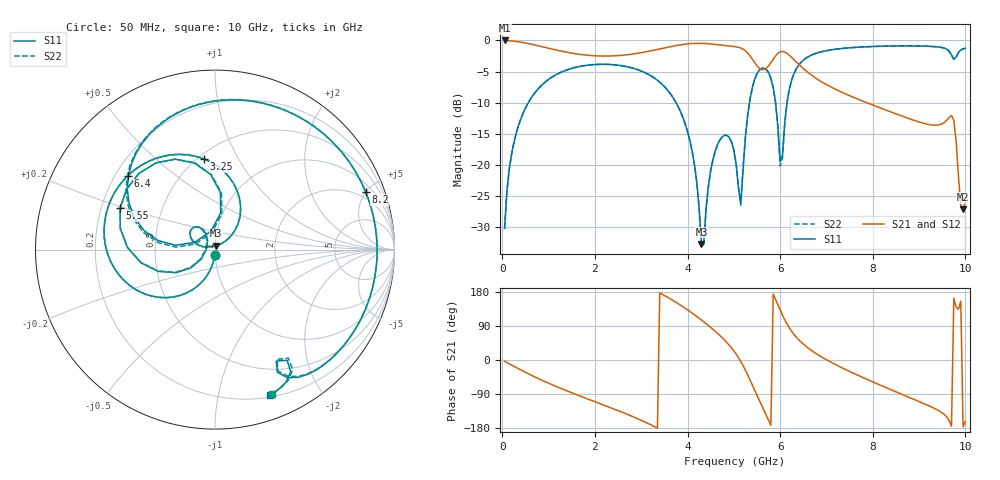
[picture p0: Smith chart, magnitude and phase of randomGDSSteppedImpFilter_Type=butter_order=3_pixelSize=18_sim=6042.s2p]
! freq	dB(S11)	phase(S11)	dB(S12)	phase(S12)
!  dB(S21)	phase(S21)	dB(S22)	phase(S22)
!S-par simulation data
#  GHz  S  DB  R 50
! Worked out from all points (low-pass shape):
!   200 points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, 50 MHz to 10 GHz, reference 50 ohm
!   highest |S21| = -0.01 dB at 50 MHz (marker M1); lowest = -27.1 dB at 9.95 GHz (marker M2)
!   |S21| within 3 dB of the highest: start of sweep to 5.399 GHz; 5.851 GHz to 6.287 GHz (435.3 MHz wide, 7.17 % of centre)
!   lowest |S11| = -32.7 dB at 4.3 GHz (marker M3), VSWR 1.05, Z = 50.7 + j2.23 ohm
!   |S11| at or under -10 dB: start of sweep to 562 MHz; 3.753 GHz to 5.338 GHz (1.586 GHz wide, 34.9 % of centre); 5.901 GHz to 6.148 GHz (246.4 MHz wide, 4.09 % of centre)
!   |S22| runs from -33.0 to -0.9 dB; largest |S21 - S12| = 0
!   S11 on the Smith chart (normalised r, x): 50 MHz: 0.99, -0.06; 3.25 GHz: 0.54, +0.73; 5.55 GHz: 0.28, +0.19; 6.4 GHz: 0.25, +0.35; 8.2 GHz: 1.49, +4.97; 10 GHz: 0.22, -1.42
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0.05  -30.16 -93.6  -0.01 -3.4  -0.01 -3.4  -30.16 -93.6
0.2  -18.27 -103.8  -0.09 -13.3  -0.09 -13.3  -18.27 -103.8
0.5  -10.86 -123.0  -0.42 -32.4  -0.42 -32.4  -10.86 -122.9
1.75  -4.08 171.1  -2.31 -98.4  -2.31 -98.4  -4.08 171.2
3.25  -5.87 96.8  -1.61 -173.6  -1.61 -173.6  -5.87 97.1
3.4  -6.70 87.7  -1.37 177.0  -1.37 177.0  -6.70 88.0
4.05  -16.06 44.3  -0.53 128.2  -0.53 128.2  -16.06 44.3
4.3  -32.66 71.0  -0.48 105.7  -0.48 105.7  -33.02 69.8
4.65  -16.69 154.6  -0.69 70.1  -0.69 70.1  -16.70 155.7
5.05  -19.90 119.6  -1.04 15.5  -1.04 15.5  -19.80 121.9
5.15  -26.44 178.4  -1.23 -3.9  -1.23 -3.9  -25.72 178.2
5.3  -11.96 -149.3  -2.02 -39.7  -2.02 -39.7  -11.91 -150.1
5.55  -4.78 156.4  -4.46 -106.7  -4.46 -106.7  -4.77 156.2
5.85  -7.56 93.3  -3.02 174.1  -3.02 174.1  -7.59 92.6
6  -19.50 101.6  -1.84 131.9  -1.84 131.9  -20.16 99.4
6.4  -3.97 139.8  -3.84 53.6  -3.84 53.6  -3.98 140.9
6.7  -2.28 111.6  -5.70 23.1  -5.70 23.1  -2.28 112.6
8.2  -0.93 21.0  -10.94 -68.4  -10.94 -68.4  -0.93 21.9
8.35  -0.90 13.0  -11.36 -76.2  -11.36 -76.2  -0.91 13.9
9.7  -2.31 -63.1  -12.05 -174.9  -12.05 -174.9  -2.36 -62.5
9.95  -1.35 -65.7  -27.11 -176.1  -27.11 -176.1  -1.36 -64.8
10  -1.27 -69.4  -25.88 -162.1  -25.88 -162.1  -1.27 -68.5
